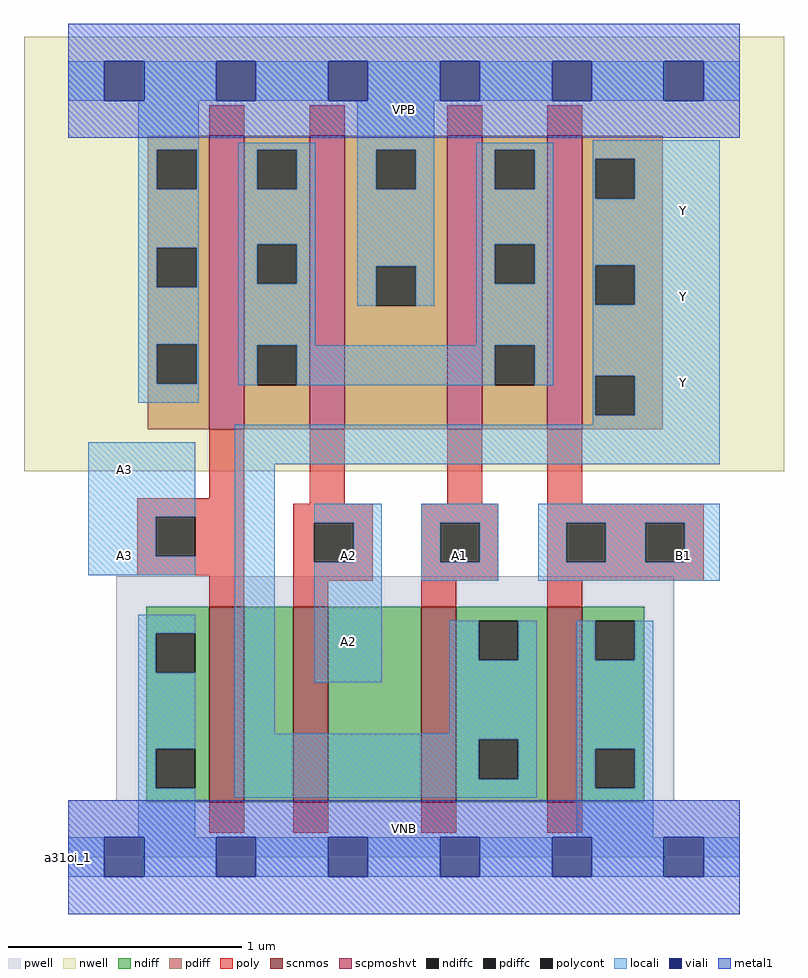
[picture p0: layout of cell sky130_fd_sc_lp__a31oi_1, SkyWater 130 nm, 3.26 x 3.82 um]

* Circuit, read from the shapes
.subckt sky130_fd_sc_lp__a31oi_1 A1 A2 A3 B1 VGND VNB VPB VPWR Y
XM1 n1 A3 VGND VNB sky130_fd_pr__nfet_01v8 w=0.84 l=0.15
XM2 n2 A2 n1 VNB sky130_fd_pr__nfet_01v8 w=0.84 l=0.15
XM3 Y A1 n2 VNB sky130_fd_pr__nfet_01v8 w=0.84 l=0.15
XM4 VGND B1 Y VNB sky130_fd_pr__nfet_01v8 w=0.84 l=0.15
XM5 n3 A3 VPWR VPB sky130_fd_pr__pfet_01v8_hvt w=1.26 l=0.15
XM6 VPWR A2 n3 VPB sky130_fd_pr__pfet_01v8_hvt w=1.26 l=0.15
XM7 n3 A1 VPWR VPB sky130_fd_pr__pfet_01v8_hvt w=1.26 l=0.15
XM8 Y B1 n3 VPB sky130_fd_pr__pfet_01v8_hvt w=1.26 l=0.15
.ends

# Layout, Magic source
magic
tech sky130A
magscale 1 2
<< nwell >>
rect -38 331 614 704
<< pwell >>
rect 41 49 520 241
rect 0 0 576 49
<< scnmos >>
rect 121 47 151 215
rect 193 47 223 215
rect 303 47 333 215
rect 411 47 441 215
<< scpmoshvt >>
rect 121 367 151 619
rect 207 367 237 619
rect 325 367 355 619
rect 411 367 441 619
<< ndiff >>
rect 67 192 121 215
rect 67 158 75 192
rect 109 158 121 192
rect 67 93 121 158
rect 67 59 75 93
rect 109 59 121 93
rect 67 47 121 59
rect 151 47 193 215
rect 223 47 303 215
rect 333 203 411 215
rect 333 169 352 203
rect 386 169 411 203
rect 333 101 411 169
rect 333 67 352 101
rect 386 67 411 101
rect 333 47 411 67
rect 441 203 494 215
rect 441 169 452 203
rect 486 169 494 203
rect 441 93 494 169
rect 441 59 452 93
rect 486 59 494 93
rect 441 47 494 59
<< pdiff >>
rect 68 607 121 619
rect 68 573 76 607
rect 110 573 121 607
rect 68 523 121 573
rect 68 489 76 523
rect 110 489 121 523
rect 68 440 121 489
rect 68 406 76 440
rect 110 406 121 440
rect 68 367 121 406
rect 151 607 207 619
rect 151 573 162 607
rect 196 573 207 607
rect 151 526 207 573
rect 151 492 162 526
rect 196 492 207 526
rect 151 439 207 492
rect 151 405 162 439
rect 196 405 207 439
rect 151 367 207 405
rect 237 607 325 619
rect 237 573 264 607
rect 298 573 325 607
rect 237 507 325 573
rect 237 473 264 507
rect 298 473 325 507
rect 237 367 325 473
rect 355 607 411 619
rect 355 573 366 607
rect 400 573 411 607
rect 355 526 411 573
rect 355 492 366 526
rect 400 492 411 526
rect 355 439 411 492
rect 355 405 366 439
rect 400 405 411 439
rect 355 367 411 405
rect 441 599 510 619
rect 441 565 452 599
rect 486 565 510 599
rect 441 508 510 565
rect 441 474 452 508
rect 486 474 510 508
rect 441 413 510 474
rect 441 379 452 413
rect 486 379 510 413
rect 441 367 510 379
<< ndiffc >>
rect 75 158 109 192
rect 75 59 109 93
rect 352 169 386 203
rect 352 67 386 101
rect 452 169 486 203
rect 452 59 486 93
<< pdiffc >>
rect 76 573 110 607
rect 76 489 110 523
rect 76 406 110 440
rect 162 573 196 607
rect 162 492 196 526
rect 162 405 196 439
rect 264 573 298 607
rect 264 473 298 507
rect 366 573 400 607
rect 366 492 400 526
rect 366 405 400 439
rect 452 565 486 599
rect 452 474 486 508
rect 452 379 486 413
<< poly >>
rect 121 619 151 645
rect 207 619 237 645
rect 325 619 355 645
rect 411 619 441 645
rect 121 308 151 367
rect 59 292 151 308
rect 207 303 237 367
rect 325 303 355 367
rect 411 303 441 367
rect 59 258 75 292
rect 109 258 151 292
rect 59 242 151 258
rect 121 215 151 242
rect 193 287 261 303
rect 193 253 211 287
rect 245 253 261 287
rect 193 237 261 253
rect 303 287 369 303
rect 303 253 319 287
rect 353 253 369 287
rect 303 237 369 253
rect 411 287 545 303
rect 411 253 427 287
rect 461 253 495 287
rect 529 253 545 287
rect 411 237 545 253
rect 193 215 223 237
rect 303 215 333 237
rect 411 215 441 237
rect 121 21 151 47
rect 193 21 223 47
rect 303 21 333 47
rect 411 21 441 47
<< polycont >>
rect 75 258 109 292
rect 211 253 245 287
rect 319 253 353 287
rect 427 253 461 287
rect 495 253 529 287
<< locali >>
rect 0 649 31 683
rect 65 649 127 683
rect 161 649 223 683
rect 257 649 319 683
rect 353 649 415 683
rect 449 649 511 683
rect 545 649 576 683
rect 60 607 112 649
rect 60 573 76 607
rect 110 573 112 607
rect 60 523 112 573
rect 60 489 76 523
rect 110 489 112 523
rect 60 440 112 489
rect 60 406 76 440
rect 110 406 112 440
rect 60 390 112 406
rect 146 607 212 613
rect 146 573 162 607
rect 196 573 212 607
rect 146 526 212 573
rect 146 492 162 526
rect 196 492 212 526
rect 146 439 212 492
rect 248 607 314 649
rect 248 573 264 607
rect 298 573 314 607
rect 248 507 314 573
rect 248 473 264 507
rect 298 473 314 507
rect 350 607 416 613
rect 350 573 366 607
rect 400 573 416 607
rect 350 526 416 573
rect 350 492 366 526
rect 400 492 416 526
rect 350 439 416 492
rect 146 405 162 439
rect 196 405 366 439
rect 400 405 416 439
rect 450 599 559 615
rect 450 565 452 599
rect 486 565 559 599
rect 450 508 559 565
rect 450 474 452 508
rect 486 474 559 508
rect 450 413 559 474
rect 450 379 452 413
rect 486 379 559 413
rect 450 371 559 379
rect 17 292 109 356
rect 17 258 75 292
rect 17 242 109 258
rect 143 337 559 371
rect 60 192 109 208
rect 60 158 75 192
rect 60 93 109 158
rect 60 59 75 93
rect 60 17 109 59
rect 143 106 177 337
rect 211 287 269 303
rect 245 253 269 287
rect 211 150 269 253
rect 303 287 369 303
rect 303 253 319 287
rect 353 253 369 287
rect 303 237 369 253
rect 403 287 559 303
rect 403 253 427 287
rect 461 253 495 287
rect 529 253 559 287
rect 403 237 559 253
rect 327 169 352 203
rect 386 169 402 203
rect 327 106 402 169
rect 143 101 402 106
rect 143 67 352 101
rect 386 67 402 101
rect 143 51 402 67
rect 436 169 452 203
rect 486 169 502 203
rect 436 93 502 169
rect 436 59 452 93
rect 486 59 502 93
rect 436 17 502 59
rect 0 -17 31 17
rect 65 -17 127 17
rect 161 -17 223 17
rect 257 -17 319 17
rect 353 -17 415 17
rect 449 -17 511 17
rect 545 -17 576 17
<< viali >>
rect 31 649 65 683
rect 127 649 161 683
rect 223 649 257 683
rect 319 649 353 683
rect 415 649 449 683
rect 511 649 545 683
rect 31 -17 65 17
rect 127 -17 161 17
rect 223 -17 257 17
rect 319 -17 353 17
rect 415 -17 449 17
rect 511 -17 545 17
<< metal1 >>
rect 0 683 576 715
rect 0 649 31 683
rect 65 649 127 683
rect 161 649 223 683
rect 257 649 319 683
rect 353 649 415 683
rect 449 649 511 683
rect 545 649 576 683
rect 0 617 576 649
rect 0 17 576 49
rect 0 -17 31 17
rect 65 -17 127 17
rect 161 -17 223 17
rect 257 -17 319 17
rect 353 -17 415 17
rect 449 -17 511 17
rect 545 -17 576 17
rect 0 -49 576 -17
<< labels >>
flabel pwell s 0 0 576 49 0 FreeSans 200 0 0 0 VNB
port 6 nsew ground bidirectional
flabel nwell s 0 617 576 666 0 FreeSans 200 0 0 0 VPB
port 7 nsew power bidirectional
rlabel comment s 0 0 0 0 4 a31oi_1
flabel metal1 s 0 617 576 666 0 FreeSans 340 0 0 0 VPWR
port 8 nsew power bidirectional
flabel metal1 s 0 0 576 49 0 FreeSans 340 0 0 0 VGND
port 5 nsew ground bidirectional
flabel locali s 319 242 353 276 0 FreeSans 340 0 0 0 A1
port 1 nsew signal input
flabel locali s 511 390 545 424 0 FreeSans 340 0 0 0 Y
port 9 nsew signal output
flabel locali s 223 168 257 202 0 FreeSans 340 0 0 0 A2
port 2 nsew signal input
flabel locali s 223 242 257 276 0 FreeSans 340 0 0 0 A2
port 2 nsew signal input
flabel locali s 511 242 545 276 0 FreeSans 340 0 0 0 B1
port 4 nsew signal input
flabel locali s 31 242 65 276 0 FreeSans 340 0 0 0 A3
port 3 nsew signal input
flabel locali s 31 316 65 350 0 FreeSans 340 0 0 0 A3
port 3 nsew signal input
flabel locali s 511 538 545 572 0 FreeSans 340 0 0 0 Y
port 9 nsew signal output
flabel locali s 511 464 545 498 0 FreeSans 340 0 0 0 Y
port 9 nsew signal output
<< properties >>
string LEFsite unit
string LEFclass CORE
string FIXED_BBOX 0 0 576 666
string GDS_FILE $PDKPATH/libs.ref/sky130_fd_sc_lp/gds/sky130_fd_sc_lp.gds
string LEFsymmetry X Y R90
string GDS_END 3430882
string GDS_START 3424902
<< end >>
